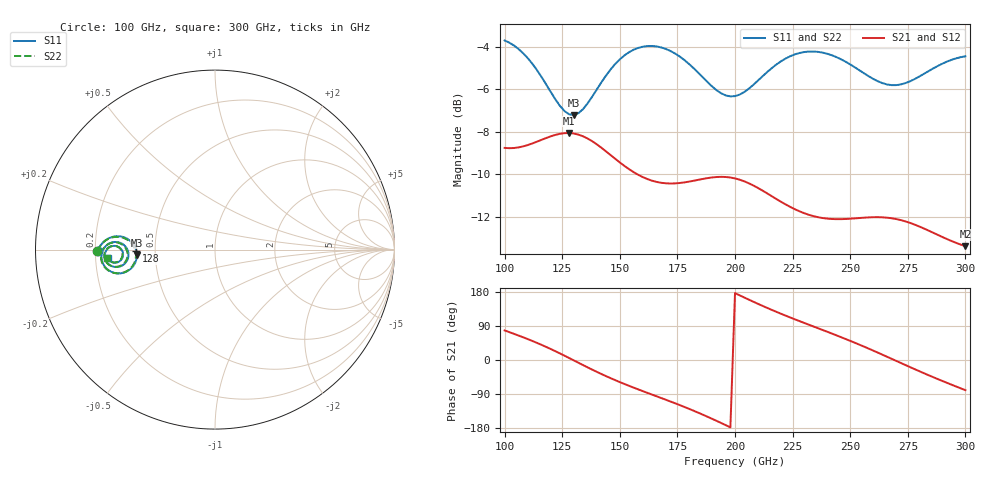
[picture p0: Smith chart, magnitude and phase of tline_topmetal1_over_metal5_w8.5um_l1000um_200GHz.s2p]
#  GHZ S DB R 50
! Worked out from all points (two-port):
!   101 points, 100 GHz to 300 GHz, reference 50 ohm
!   highest |S21| = -8.05 dB at 128 GHz (marker M1); lowest = -13.4 dB at 300 GHz (marker M2)
!   |S21| within 3 dB of the highest: start of sweep to 216.4 GHz
!   lowest |S11| = -7.2 dB at 130 GHz (marker M3), VSWR 2.55, Z = 19.6 - j1.42 ohm
!   |S11| at or under -10 dB: nowhere
!   |S22| runs from -7.1 to -3.7 dB; largest |S21 - S12| = 3.2e-13
!   S11 on the Smith chart (normalised r, x): 100 GHz: 0.21, -0.01; 128 GHz: 0.39, -0.01; 300 GHz: 0.25, -0.04
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100  -3.70 -179.4  -8.75 78.0  -8.75 78.0  -3.68 -179.1
114  -5.09 172.3  -8.46 45.3  -8.46 45.3  -5.04 172.7
120  -6.11 172.8  -8.21 29.0  -8.21 29.0  -6.05 173.2
128  -7.17 -179.1  -8.05 5.2  -8.05 5.2  -7.08 -178.9
130  -7.21 -176.2  -8.07 -0.9  -8.07 -0.9  -7.11 -176.0
134  -6.93 -170.7  -8.20 -13.3  -8.20 -13.3  -6.84 -170.7
142  -5.67 -165.8  -8.74 -36.9  -8.74 -36.9  -5.61 -165.9
148  -4.81 -166.9  -9.26 -53.2  -9.26 -53.2  -4.76 -167.0
158  -4.05 -172.5  -10.02 -77.6  -10.02 -77.6  -4.01 -172.5
168  -4.03 -178.7  -10.39 -100.4  -10.39 -100.4  -3.99 -178.6
184  -5.21 175.6  -10.25 -138.9  -10.25 -138.9  -5.15 175.8
192  -6.04 178.0  -10.12 -160.6  -10.12 -160.6  -5.96 178.1
200  -6.32 -175.8  -10.19 176.5  -10.19 176.5  -6.23 -175.8
208  -5.78 -170.8  -10.52 153.7  -10.52 153.7  -5.70 -171.0
216  -5.00 -170.1  -11.02 132.2  -11.02 132.2  -4.94 -170.3
224  -4.44 -172.4  -11.53 112.2  -11.53 112.2  -4.39 -172.5
234  -4.22 -176.7  -11.96 88.6  -11.96 88.6  -4.18 -176.8
250  -4.83 178.1  -12.08 50.5  -12.08 50.5  -4.78 178.1
260  -5.51 178.9  -12.01 24.8  -12.01 24.8  -5.46 178.9
268  -5.80 -177.7  -12.06 3.1  -12.06 3.1  -5.74 -177.8
284  -5.14 -172.5  -12.64 -40.1  -12.64 -40.1  -5.10 -172.7
300  -4.45 -175.5  -13.37 -79.7  -13.37 -79.7  -4.42 -175.6
